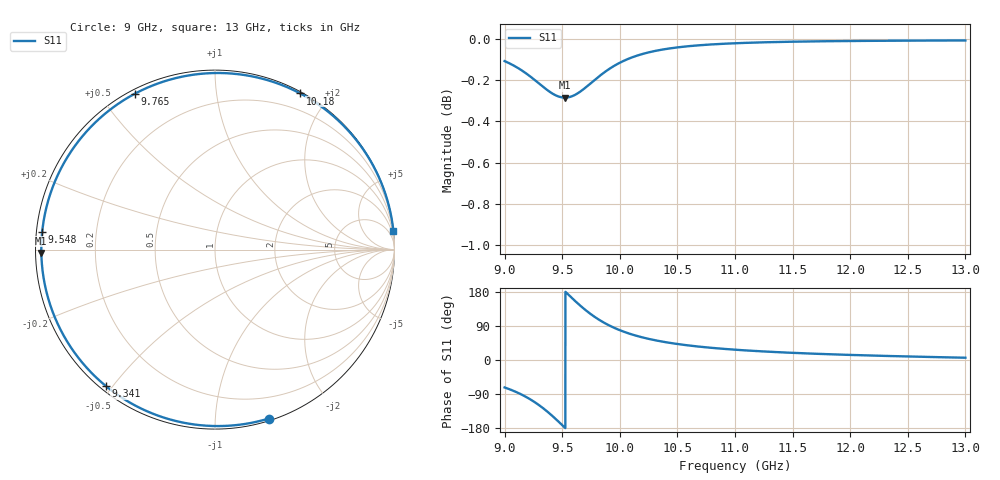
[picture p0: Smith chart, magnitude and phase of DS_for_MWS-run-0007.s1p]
! TOUCHSTONE file generated by CST DESIGN STUDIO
! Date and time: Tue Feb  4 13:47:43 2025
! Project name: C:\Work\MatlabApps\UnitCellOptimizationMatlab\CST\unitcell.cst
! Tree item: Tasks\Sweep1\SPara1\S-Parameters
! Header version: 2024
! Port assignment regex: !\s*Touchstone port\s*([0-9]+)\s*=\s*(CST MWS port|CST DES external port|CST DES block port)\s*(.+)\s* \(\"(.*)\"\)(\s*mode\s*([0-9]+))?.*
! Touchstone port assignment:
! Touchstone port 1 = CST DES external port 1 ("")
# GHz S MA R 50
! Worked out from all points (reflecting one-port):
!   4001 points, 9 GHz to 13 GHz, reference 50 ohm
!   lowest |S11| = -0.3 dB at 9.524 GHz (marker M1), VSWR 61.12, Z = 0.818 - j0.495 ohm
!   phase of S11 starts at -72 deg and turns -282 deg over the sweep
!   S11 on the Smith chart (normalised r, x): 9 GHz: 0.02, -1.37; 9.341 GHz: 0.02, -0.48; 9.548 GHz: 0.02, +0.05; 9.765 GHz: 0.02, +0.61; 10.18 GHz: 0.02, +1.69; 13 GHz: 0, +19
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9  0.9878 -72.4
9.094  0.9848 -83.6
9.2  0.9804 -99.8
9.274  0.9768 -113.8
9.341  0.9733 -128.8
9.384  0.9713 -139.5
9.429  0.9695 -151.6
9.5  0.9679 -171.8
9.524  0.9678 -178.9
9.548  0.9679 174.1
9.602  0.969 158.5
9.662  0.9713 142.1
9.713  0.9738 129.2
9.765  0.9765 117.3
9.814  0.9791 107.3
9.868  0.9817 97.6
9.934  0.9845 87.3
10  0.9869 78.7
10.084  0.9893 69.4
10.175  0.9913 61.3
10.323  0.9936 51.1
10.5  0.9954 42.2
10.722  0.9967 34.2
11  0.9977 27.2
11.5  0.9986 18.9
12  0.999 13.4
12.5  0.9992 9.3
13  0.9993 6.0
